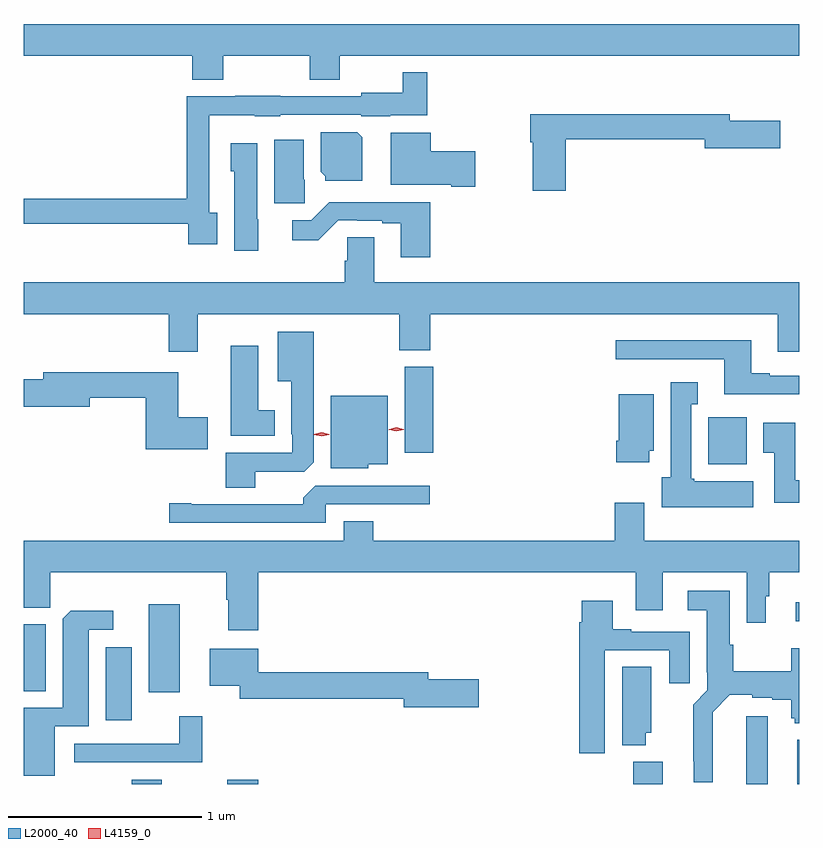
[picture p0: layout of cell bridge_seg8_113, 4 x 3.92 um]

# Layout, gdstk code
import gdstk
lib = gdstk.Library(unit=1e-6, precision=1e-09)
def R(c, l, rs):  # rectangles x0, y0, x1, y1
    for r in rs: c.add(gdstk.rectangle(r[:2], r[2:], *l))
def P(c, l, *ps):  # polygons
    for p in ps: c.add(gdstk.Polygon(p, *l))
L2000_40 = (2000, 40)
L4159_0 = (4159, 0)

bridge_seg8_113 = lib.new_cell('bridge_seg8_113')
R(bridge_seg8_113, L2000_40, [(850.366,1146.045,850.521,1146.067), (850.858,1146.045,851.018,1146.067), (852.953,1146.045,853.105,1146.16), (853.535,1146.045,853.645,1146.394), (853.799,1146.045,853.809,1146.274), (850.232,1146.375,850.366,1146.751), (850.454,1146.519,850.615,1146.973), (849.809,1146.523,849.922,1146.87), (853.791,1146.884,853.809,1146.982), (853.34,1147.694,853.537,1147.936), (851.774,1147.752,851.921,1148.196)])
P(bridge_seg8_113, L2000_40, [(850.839,1149.8),(851.284,1149.8),(851.284,1149.676),(851.439,1149.676),(851.439,1149.8),(853.809,1149.8),(853.809,1149.964),(849.809,1149.964),(849.809,1149.8),(850.679,1149.8),(850.679,1149.676),(850.839,1149.676)],
  [(850.807,1148.99),(850.767,1148.99),(850.767,1149.494),(851.001,1149.494),(851.001,1149.488),(851.133,1149.488),(851.133,1149.495),(851.55,1149.495),(851.55,1149.488),(851.7,1149.488),(851.7,1149.494),(851.891,1149.494),(851.891,1149.715),(851.763,1149.715),(851.763,1149.61),(851.55,1149.61),(851.55,1149.591),(851.133,1149.591),(851.133,1149.593),(850.901,1149.593),(850.901,1149.591),(850.651,1149.591),(850.651,1149.062),(849.809,1149.062),(849.809,1148.934),(850.659,1148.934),(850.659,1148.829),(850.807,1148.829)],
  [(852.605,1149.37),(853.322,1149.37),(853.322,1149.323),(853.711,1149.323),(853.711,1149.465),(853.45,1149.465),(853.45,1149.499),(852.422,1149.499),(852.422,1149.353),(852.434,1149.353),(852.434,1149.105),(852.605,1149.105)],
  [(851.554,1149.38),(851.528,1149.406),(851.342,1149.406),(851.342,1149.202),(851.364,1149.18),(851.364,1149.155),(851.554,1149.155)],
  [(852.139,1149.308),(851.908,1149.308),(851.908,1149.404),(851.702,1149.404),(851.702,1149.134),(852.015,1149.134),(852.015,1149.125),(852.139,1149.125)],
  [(851.258,1149.162),(851.254,1149.162),(851.254,1149.367),(851.102,1149.367),(851.102,1149.039),(851.258,1149.039)],
  [(851.02,1148.958),(851.014,1148.958),(851.014,1149.349),(850.877,1149.349),(850.877,1149.204),(850.895,1149.204),(850.895,1148.796),(851.02,1148.796)],
  [(851.906,1149.046),(851.386,1149.046),(851.292,1148.952),(851.193,1148.952),(851.193,1148.85),(851.328,1148.85),(851.43,1148.952),(851.53,1148.952),(851.53,1148.949),(851.657,1148.949),(851.657,1148.937),(851.753,1148.937),(851.753,1148.76),(851.906,1148.76)],
  [(850.708,1148.468),(851.746,1148.468),(851.746,1148.281),(851.906,1148.281),(851.906,1148.468),(853.697,1148.468),(853.697,1148.274),(853.809,1148.274),(853.809,1148.632),(851.617,1148.632),(851.617,1148.864),(851.478,1148.864),(851.478,1148.742),(851.465,1148.742),(851.465,1148.632),(849.809,1148.632),(849.809,1148.468),(850.556,1148.468),(850.556,1148.274),(850.708,1148.274)],
  [(851.002,1147.656),(851.256,1147.656),(851.305,1147.705),(851.305,1148.377),(851.12,1148.377),(851.12,1148.123),(851.189,1148.123),(851.189,1147.849),(851.193,1147.849),(851.193,1147.752),(850.85,1147.752),(850.85,1147.573),(851.002,1147.573)],
  [(853.809,1148.151),(853.657,1148.151),(853.657,1148.164),(853.561,1148.164),(853.561,1148.332),(852.861,1148.332),(852.861,1148.235),(853.421,1148.235),(853.421,1148.054),(853.809,1148.054)],
  [(851.104,1147.972),(851.02,1147.972),(851.02,1148.305),(850.877,1148.305),(850.877,1147.841),(851.104,1147.841)],
  [(850.759,1147.935),(850.606,1147.935),(850.606,1148.167),(849.911,1148.167),(849.911,1148.133),(849.809,1148.133),(849.809,1147.991),(850.15,1147.991),(850.15,1148.038),(850.439,1148.038),(850.439,1147.772),(850.759,1147.772)],
  [(853.57,1147.606),(853.266,1147.606),(853.266,1147.62),(853.252,1147.62),(853.252,1148.003),(853.285,1148.003),(853.285,1148.116),(853.145,1148.116),(853.145,1147.626),(853.1,1147.626),(853.1,1147.472),(853.57,1147.472)],
  [(853.036,1147.764),(853.057,1147.764),(853.057,1148.056),(852.878,1148.056),(852.878,1147.816),(852.866,1147.816),(852.866,1147.704),(853.036,1147.704)],
  [(851.586,1147.694),(851.686,1147.694),(851.686,1148.047),(851.393,1148.047),(851.393,1147.673),(851.586,1147.673)],
  [(853.809,1147.612),(853.789,1147.612),(853.789,1147.909),(853.622,1147.909),(853.622,1147.753),(853.679,1147.753),(853.679,1147.494),(853.809,1147.494)],
  [(851.367,1147.488),(851.902,1147.488),(851.902,1147.584),(851.313,1147.584),(851.252,1147.522),(851.252,1147.488),(850.672,1147.488),(850.672,1147.493),(850.56,1147.493),(850.56,1147.392),(851.367,1147.392)],
  [(851.018,1147.136),(852.965,1147.136),(852.965,1146.942),(853.105,1146.942),(853.105,1147.136),(853.539,1147.136),(853.539,1146.876),(853.636,1146.876),(853.636,1147.014),(853.655,1147.014),(853.655,1147.136),(853.809,1147.136),(853.809,1147.3),(853.009,1147.3),(853.009,1147.495),(852.857,1147.495),(852.857,1147.3),(851.612,1147.3),(851.612,1147.399),(851.459,1147.399),(851.459,1147.3),(849.809,1147.3),(849.809,1146.955),(849.947,1146.955),(849.947,1147.136),(850.853,1147.136),(850.853,1146.995),(850.865,1146.995),(850.865,1146.837),(851.018,1146.837)],
  [(853.363,1146.416),(853.45,1146.504),(853.566,1146.504),(853.566,1146.491),(853.668,1146.491),(853.668,1146.479),(853.766,1146.479),(853.766,1146.384),(853.785,1146.384),(853.785,1146.359),(853.809,1146.359),(853.809,1146.745),(853.766,1146.745),(853.766,1146.626),(853.468,1146.626),(853.468,1146.762),(853.45,1146.762),(853.45,1147.042),(853.233,1147.042),(853.233,1146.941),(853.331,1146.941),(853.331,1146.622),(853.335,1146.622),(853.335,1146.528),(853.261,1146.454),(853.261,1146.163),(853.265,1146.163),(853.265,1146.053),(853.363,1146.053)],
  [(852.805,1146.735),(853.139,1146.735),(853.139,1146.564),(853.243,1146.564),(853.243,1146.831),(852.943,1146.831),(852.943,1146.844),(852.847,1146.844),(852.847,1146.991),(852.686,1146.991),(852.686,1146.878),(852.674,1146.878),(852.674,1146.204),(852.805,1146.204)],
  [(849.97,1146.342),(850.144,1146.342),(850.144,1146.84),(850.27,1146.84),(850.27,1146.938),(850.051,1146.938),(850.01,1146.896),(850.01,1146.438),(849.809,1146.438),(849.809,1146.087),(849.97,1146.087)],
  [(852.157,1146.584),(851.896,1146.584),(851.896,1146.62),(851.019,1146.62),(851.019,1146.742),(850.769,1146.742),(850.769,1146.551),(850.923,1146.551),(850.923,1146.484),(851.768,1146.484),(851.768,1146.442),(852.157,1146.442)],
  [(853.018,1146.309),(853.045,1146.309),(853.045,1146.65),(852.896,1146.65),(852.896,1146.245),(853.018,1146.245)],
  [(850.73,1146.394),(850.612,1146.394),(850.612,1146.252),(850.071,1146.252),(850.071,1146.156),(850.73,1146.156)])
P(bridge_seg8_113, L4159_0, [(851.731,1147.864),(851.693,1147.873),(851.692,1147.873),(851.693,1147.874),(851.731,1147.884),(851.769,1147.874),(851.77,1147.874),(851.769,1147.873)],
  [(851.345,1147.838),(851.304,1147.847),(851.304,1147.848),(851.304,1147.848),(851.345,1147.858),(851.386,1147.848),(851.386,1147.848),(851.386,1147.847)])

lib.write_gds('bridge_seg8_113.gds')
